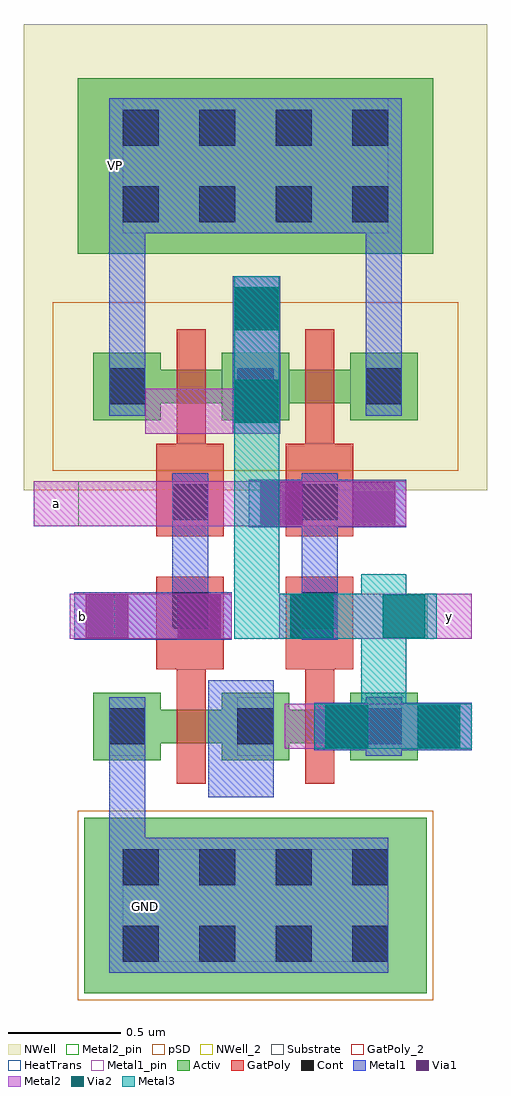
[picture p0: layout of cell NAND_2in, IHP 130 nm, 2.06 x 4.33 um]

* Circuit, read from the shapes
.subckt NAND_2in GND VP a b y
XM1 n1 b GND GND sg13_lv_nmos w=0.15u l=0.13u
XM2 y a n1 GND sg13_lv_nmos w=0.15u l=0.13u
XM3 y b VP VP sg13_lv_pmos w=0.15u l=0.13u
XM4 VP a y VP sg13_lv_pmos w=0.15u l=0.13u
.ends

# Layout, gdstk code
from math import pi, radians
import gdstk
lib = gdstk.Library(unit=1e-6, precision=1e-09)
def R(c, l, rs):  # rectangles x0, y0, x1, y1
    for r in rs: c.add(gdstk.rectangle(r[:2], r[2:], *l))
def A(c, l, x, y, w, h, nx, ny, dx, dy):  # array of equal rectangles
    R(c, l, [(x+i*dx, y+j*dy, x+i*dx+w, y+j*dy+h) for i in range(nx) for j in range(ny)])
Activ = (1, 0)
GatPoly = (5, 0)
GatPoly_2 = (5, 2)
Cont = (6, 0)
Metal1 = (8, 0)
Metal1_pin = (8, 2)
Metal2 = (10, 0)
Metal2_pin = (10, 2)
pSD = (14, 0)
Via1 = (19, 0)
Via2 = (29, 0)
Metal3 = (30, 0)
NWell = (31, 0)
NWell_2 = (31, 2)
Substrate = (40, 0)
HeatTrans = (51, 0)

via_4 = lib.new_cell('Via$4')
R(via_4, Metal2, [(-0.1,-0.35,0.1,0.35)])
R(via_4, Via2, [(-0.095,-0.3,0.095,-0.11), (-0.095,0.11,0.095,0.3)])
R(via_4, Metal3, [(-0.1,-0.35,0.1,0.35)])

via_2 = lib.new_cell('Via$2')
R(via_2, Metal1, [(-0.105,-0.35,0.105,0.35)])
R(via_2, Metal2, [(-0.1,-0.35,0.1,0.35)])
R(via_2, Via1, [(-0.095,-0.3,0.095,-0.11), (-0.095,0.11,0.095,0.3)])

via_7 = lib.new_cell('Via$7')
R(via_7, Metal2, [(-0.35,-0.1,0.35,0.1)])
R(via_7, Via2, [(-0.3,-0.095,-0.11,0.095), (0.11,-0.095,0.3,0.095)])
R(via_7, Metal3, [(-0.35,-0.1,0.35,0.1)])

via = lib.new_cell('Via')
R(via, GatPoly, [(-0.15,-0.15,0.15,0.15)])
R(via, Cont, [(-0.08,-0.08,0.08,0.08)])
R(via, Metal1, [(-0.13,-0.08,0.13,0.08)])

pmos = lib.new_cell('pmos')
R(pmos, Activ, [(0,0,0.3,0.3), (0.57,0,0.87,0.3), (0,0.075,0.87,0.225)])
R(pmos, GatPoly, [(0.37,-0.105,0.5,0.405), (0.37,-0.105,0.5,0.405)])
R(pmos, Cont, [(0.07,0.07,0.23,0.23), (0.64,0.07,0.8,0.23)])
R(pmos, Metal1, [(0.07,0.02,0.23,0.28), (0.07,0.02,0.23,0.28), (0.64,0.02,0.8,0.28), (0.64,0.02,0.8,0.28)])
R(pmos, pSD, [(-0.18,-0.225,1.05,0.525)])
R(pmos, NWell, [(-0.31,-0.31,1.18,0.61)])
R(pmos, Substrate, [(0.57,0,0.87,0.3)])
R(pmos, HeatTrans, [(0.37,-0.105,0.5,0.405)])
pmos.add(gdstk.Label('pmos', (0.435,0.15), layer=63, texttype=0))
pmos.add(gdstk.Label('pmos', (0.435,0.15), layer=51, texttype=0))

ptap1 = lib.new_cell('ptap1')
R(ptap1, Activ, [(0,0,1.52,0.78)])
A(ptap1, Cont, 0.17, 0.14, 0.16, 0.16, 4, 2, 0.34, 0.34)
R(ptap1, Metal1, [(0.17,0.09,1.35,0.69), (0.17,0.14,1.35,0.64)])
R(ptap1, Metal1_pin, [(0.17,0.14,1.35,0.64)])
R(ptap1, pSD, [(-0.03,-0.03,1.55,0.81)])
R(ptap1, Substrate, [(0,0,1.52,0.78)])
ptap1.add(gdstk.Label('sub!', (0.76,0.01), layer=63, texttype=0))
ptap1.add(gdstk.Label('sub!', (0.76,0.01), layer=40, texttype=0))

ntap1 = lib.new_cell('ntap1')
R(ntap1, Activ, [(0,0,1.58,0.78)])
A(ntap1, Cont, 0.2, 0.14, 0.16, 0.16, 4, 2, 0.34, 0.34)
R(ntap1, Metal1, [(0.2,0.09,1.38,0.69)])
R(ntap1, Metal1_pin, [(0.2,0.09,1.38,0.69), (0.2,0.14,1.38,0.64)])
R(ntap1, NWell, [(-0.24,-0.24,1.82,1.02), (0,0,1.58,0.78)])
R(ntap1, NWell_2, [(0,0,1.58,0.78)])
ntap1.add(gdstk.Label('well', (0.79,0.01), layer=63, texttype=0))
ntap1.add(gdstk.Label('well', (0.79,0.01), layer=31, texttype=0))

nmos = lib.new_cell('nmos')
R(nmos, Activ, [(0,0,0.3,0.3), (0.57,0,0.87,0.3), (0,0.075,0.87,0.225)])
R(nmos, GatPoly, [(0.37,-0.105,0.5,0.405)])
R(nmos, GatPoly_2, [(0.37,-0.105,0.5,0.405)])
R(nmos, Cont, [(0.07,0.07,0.23,0.23), (0.64,0.07,0.8,0.23)])
R(nmos, Metal1, [(0.07,0.02,0.23,0.28), (0.64,0.02,0.8,0.28)])
R(nmos, Metal1_pin, [(0.07,0.02,0.23,0.28), (0.64,0.02,0.8,0.28)])
R(nmos, HeatTrans, [(0.37,-0.105,0.5,0.405)])
nmos.add(gdstk.Label('nmos', (0.435,0.15), layer=63, texttype=0))
nmos.add(gdstk.Label('nmos', (0.435,0.15), layer=51, texttype=0))

nand_2in = lib.new_cell('NAND_2in')
R(nand_2in, GatPoly, [(6.865,8.395,7.165,8.505), (7.44,8.395,7.74,8.505), (6.865,9.285,7.165,9.395), (7.44,9.285,7.74,9.395)])
R(nand_2in, Metal1, [(7.095,7.825,7.385,8.345)])
R(nand_2in, Metal1_pin, [(6.715,7.24,6.915,7.44), (6.715,10.53,6.915,10.73)])
R(nand_2in, Metal2, [(6.48,8.53,7.2,8.73)])
R(nand_2in, Metal2_pin, [(6.48,8.53,6.68,8.73), (8.065,8.53,8.265,8.73), (6.32,9.03,6.52,9.23)])
R(nand_2in, Metal3, [(7.21,8.53,7.41,8.645)])
nand_2in.add(gdstk.FlexPath([(6.735,7.645),(6.735,7.045)], 0.16, ends="flush", simple_path=True, layer=8, datatype=0))  # Metal1
nand_2in.add(gdstk.FlexPath([(7.875,10.33),(7.875,10.93)], 0.16, ends="flush", simple_path=True, layer=8, datatype=0))  # Metal1
nand_2in.add(gdstk.FlexPath([(6.735,10.33),(6.735,10.93)], 0.16, ends="flush", simple_path=True, layer=8, datatype=0))  # Metal1
nand_2in.add(gdstk.FlexPath([(7.915,8.14),(7.915,8.14)], 0.16, ends="flush", simple_path=True, layer=8, datatype=0))  # Metal1
nand_2in.add(gdstk.FlexPath([(7.015,8.87),(7.015,8.87)], 0.16, ends="flush", simple_path=True, layer=8, datatype=0))  # Metal1
nand_2in.add(gdstk.FlexPath([(7.59,8.655),(7.59,9.005)], 0.16, ends="flush", simple_path=True, layer=8, datatype=0))  # Metal1
nand_2in.add(gdstk.FlexPath([(7.015,9.005),(7.015,8.785)], 0.16, ends="flush", simple_path=True, layer=8, datatype=0))  # Metal1
nand_2in.add(gdstk.FlexPath([(6.735,9.65),(6.735,10.33)], 0.16, ends="flush", simple_path=True, layer=8, datatype=0))  # Metal1
nand_2in.add(gdstk.FlexPath([(7.875,9.65),(7.875,10.33)], 0.16, ends="flush", simple_path=True, layer=8, datatype=0))  # Metal1
nand_2in.add(gdstk.FlexPath([(6.735,8.01),(6.735,7.645)], 0.16, ends="flush", simple_path=True, layer=8, datatype=0))  # Metal1
nand_2in.add(gdstk.FlexPath([(7.02,9.395),(7.02,9.395)], 0.16, ends="flush", simple_path=True, layer=5, datatype=0))  # GatPoly
nand_2in.add(gdstk.FlexPath([(7.975,9.13),(6.32,9.13)], 0.2, ends="flush", simple_path=True, layer=10, datatype=0))  # Metal2
nand_2in.add(gdstk.FlexPath([(8.265,8.14),(7.435,8.14)], 0.2, ends="flush", simple_path=True, layer=10, datatype=0))  # Metal2
nand_2in.add(gdstk.FlexPath([(7.915,8.14),(7.915,8.14)], 0.2, ends="flush", simple_path=True, layer=10, datatype=0))  # Metal2
nand_2in.add(gdstk.FlexPath([(7.41,8.63),(8.265,8.63)], 0.2, ends="flush", simple_path=True, layer=10, datatype=0))  # Metal2
nand_2in.add(gdstk.FlexPath([(7.305,9.54),(6.815,9.54)], 0.2, ends="flush", simple_path=True, layer=10, datatype=0))  # Metal2
nand_2in.add(gdstk.FlexPath([(7.875,8.14),(7.875,8.815)], 0.2, ends="flush", simple_path=True, layer=30, datatype=0))  # Metal3
nand_2in.add(gdstk.FlexPath([(7.31,9.59),(7.31,8.645)], 0.2, ends="flush", simple_path=True, layer=30, datatype=0))  # Metal3
nand_2in.add(gdstk.Reference(via_4, (7.915,8.14), rotation=3*pi/2))
nand_2in.add(gdstk.Reference(via_2, (7.915,8.14), rotation=3*pi/2))
nand_2in.add(gdstk.Reference(via_4, (7.31,9.79), rotation=pi))
nand_2in.add(gdstk.Reference(via_2, (7.31,9.79), rotation=pi))
nand_2in.add(gdstk.Reference(via_7, (7.76,8.63)))
nand_2in.add(gdstk.Reference(via_2, (7.625,9.13), rotation=3*pi/2))
nand_2in.add(gdstk.Reference(via, (7.015,8.655), rotation=3*pi/2))
nand_2in.add(gdstk.Reference(via, (7.59,8.655), rotation=3*pi/2))
nand_2in.add(gdstk.Reference(via, (7.59,9.135), rotation=pi/2))
nand_2in.add(gdstk.Reference(pmos, (7.155,9.5)))
nand_2in.add(gdstk.Reference(via, (7.015,9.135), rotation=pi/2))
nand_2in.add(gdstk.Reference(ptap1, (6.545,6.955)))
nand_2in.add(gdstk.Reference(ntap1, (6.515,10.24)))
nand_2in.add(gdstk.Reference(nmos, (7.155,7.99)))
nand_2in.add(gdstk.Reference(pmos, (6.585,9.5)))
nand_2in.add(gdstk.Reference(nmos, (6.585,7.99)))
nand_2in.add(gdstk.Reference(via_2, (6.85,8.63), rotation=3*pi/2))
nand_2in.add(gdstk.Label('y', (8.165,8.63), layer=10, texttype=25))
nand_2in.add(gdstk.Label('b', (6.535,8.63), layer=10, texttype=25))
nand_2in.add(gdstk.Label('a', (6.42,9.13), layer=10, texttype=25))
nand_2in.add(gdstk.Label('VP', (6.685,10.63), layer=8, texttype=25))
nand_2in.add(gdstk.Label('GND', (6.815,7.34), layer=8, texttype=25))

lib.write_gds('NAND_2in.gds')
